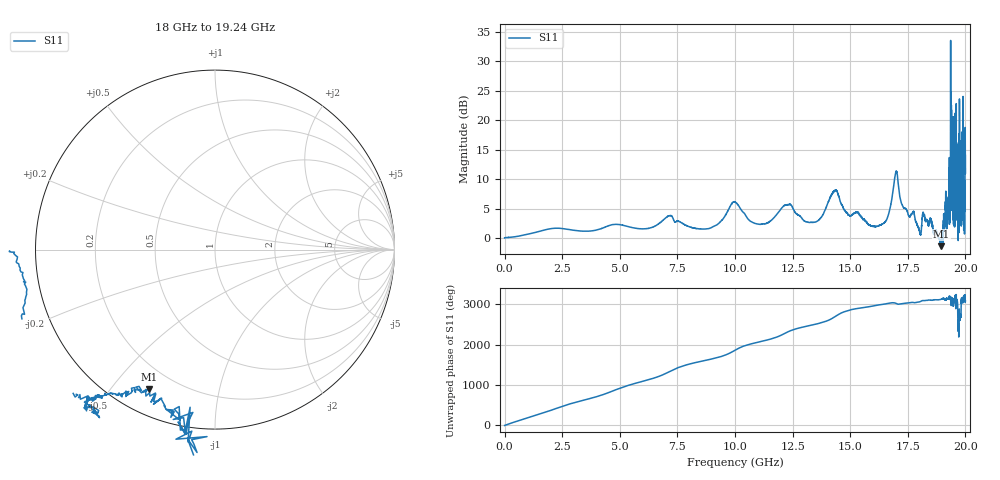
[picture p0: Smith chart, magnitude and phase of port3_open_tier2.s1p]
! Created with skrf 1.8.0 (http://scikit-rf.org).
# GHz S RI R 50.0
!freq ReS11 ImS11
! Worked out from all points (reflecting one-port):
!   10001 points, 1 MHz to 20 GHz, reference 50 ohm
!   lowest |S11| = -1.3 dB at 18.95 GHz (marker M1), VSWR 13.24, Z = 5.29 - j31.5 ohm
!   phase of S11 starts at 0 deg and turns +3083 deg over the sweep
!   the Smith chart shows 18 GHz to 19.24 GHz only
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0.001  1.007 0.00805
1.508925  0.1682 -1.134
2.500875  -0.4882 1.11
3.368832  -0.2484 -1.127
4.070797  1.181 0.1325
5.00075  -1.215 -0.4813
5.914704  1.206 0.0222
6.936653  -1.423 -0.3135
7.500625  1.36 -0.3421
8.710565  -1.187 0.1875
9.504525  0.4382 -1.419
10.0005  0.9614 1.801
10.42648  -1.603 0.1666
11.08445  0.0969 -1.312
11.76041  1.482 0.4601
12.10639  -0.4453 1.828
12.50038  -1.665 -0.7471
13.69632  1.424 0.3897
14.12029  -0.4508 2.151
14.36628  -2.561 -0.1671
14.58827  -0.4117 -1.977
15.00025  1.457 -0.5209
16.93015  -2.938 1.365
17.50013  -1.422 0.8184
18.94805  -0.3664 -0.7775
19.27804  -0.2364 -1.548
19.57002  -2.853 0.9484
20  -4.629 -2.027
